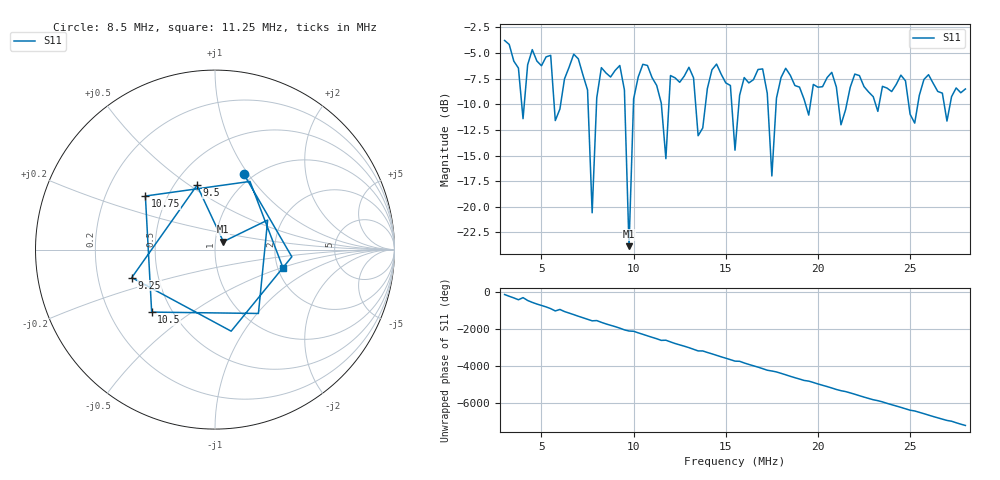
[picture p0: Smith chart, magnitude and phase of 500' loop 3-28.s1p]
# HZ S RI R 50
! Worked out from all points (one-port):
!   101 points, 3 MHz to 28 MHz, reference 50 ohm
!   lowest |S11| = -23.8 dB at 9.75 MHz (marker M1), VSWR 1.14, Z = 54.6 + j4.88 ohm
!   |S11| at or under -10 dB: 5.688 MHz to 6.039 MHz (351.1 kHz wide, 5.99 % of centre); 13.36 MHz to 13.9 MHz (535.5 kHz wide, 3.93 % of centre); 21.11 MHz to 21.56 MHz (445.5 kHz wide, 2.09 % of centre) (the widest 3 of 13)
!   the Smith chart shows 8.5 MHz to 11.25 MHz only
!   S11 on the Smith chart (normalised r, x): 8.5 MHz: 0.91, +0.95; 9.25 MHz: 0.35, -0.14; 9.5 MHz: 0.64, +0.53; 10.5 MHz: 0.39, -0.36; 10.75 MHz: 0.38, +0.30; 11.25 MHz: 2.14, -0.50
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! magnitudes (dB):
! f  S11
! 3 MHz  -3.8
! 4 MHz  -11.4
! 4.5 MHz  -4.7
! 6.25 MHz  -7.5
! 7.5 MHz  -8.6
! 7.75 MHz  -20.6
! 8 MHz  -9.4
! 8.5 MHz  -6.9
! 9.25 MHz  -6.2
! 9.5 MHz  -8.6
! 9.75 MHz  -23.8
! 10 MHz  -9.5
! 10.5 MHz  -6.1
! 10.75 MHz  -6.2
! 11.25 MHz  -8.2
! 11.75 MHz  -15.3
! 12 MHz  -7.2
! 12.5 MHz  -7.8
! 13.5 MHz  -13.1
! 14.5 MHz  -6.1
! 15.5 MHz  -14.5
! 17 MHz  -6.5
! 17.5 MHz  -17.0
! 18 MHz  -7.4
! 18.75 MHz  -8.2
! 21.75 MHz  -8.3
! 25 MHz  -11.0
! 28 MHz  -8.5
